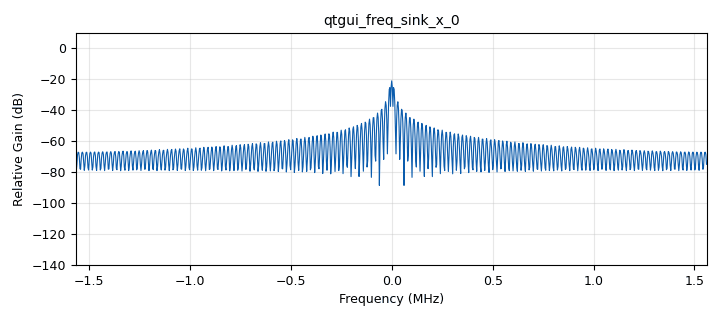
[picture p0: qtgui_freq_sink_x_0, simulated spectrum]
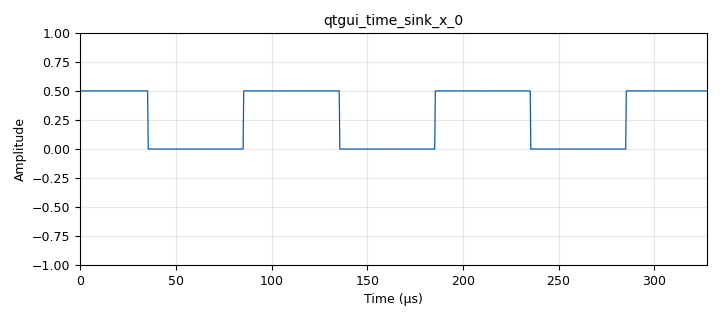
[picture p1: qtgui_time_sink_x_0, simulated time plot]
options:
  parameters:
    generate_options: qt_gui
    id: Lab2_comu1_B1A_G4
    output_language: python
    title: Not titled yet
  states: {}

blocks:
- name: A
  id: variable_qtgui_range
  parameters:
    label: Amplitud señal
    start: '0'
    step: '1e-2'
    stop: '0.5'
    value: '0.5'
  states: {}
- name: GTX
  id: variable_qtgui_range
  parameters:
    label: Ganancia del transmisor
    start: '0'
    step: '0.5'
    stop: '30'
    value: '0.5'
  states: {}
- name: 'No'
  id: variable_qtgui_range
  parameters:
    label: Amplitud ruido
    start: '0'
    step: '1e-6'
    stop: '1e-1'
    value: '1e-4'
  states: {}
- name: fc
  id: variable_qtgui_range
  parameters:
    label: Frecuencia portadora
    start: 50e6
    step: 1e5
    stop: 1e9
    value: 200e6
  states: {}
- name: fcut
  id: variable_qtgui_range
  parameters:
    start: '0'
    step: '100'
    stop: samp_rate/2
    value: samp_rate/2
  states: {}
- name: fm
  id: variable_qtgui_range
  parameters:
    label: Frecuencia señal
    start: '1000'
    step: '1000'
    stop: 1e6
    value: '10000'
  states: {}
- name: samp_rate
  id: variable
  parameters:
    value: 25e6/8
  states: {}
- name: t_band
  id: variable_qtgui_range
  parameters:
    label: Banda de transicion
    start: '0'
    step: '100'
    stop: samp_rate/20
    value: samp_rate/20
  states: {}
- name: analog_noise_source_x_0
  id: analog_noise_source_x
  parameters:
    amp: 'No'
    noise_type: analog.GR_GAUSSIAN
    seed: '0'
    type: float
  states: {}
- name: analog_sig_source_x_0
  id: analog_sig_source_x
  parameters:
    amp: A
    freq: fm
    offset: '0'
    phase: '0'
    samp_rate: samp_rate
    type: float
    waveform: analog.GR_SQR_WAVE
  states: {state: disabled}
- name: analog_sig_source_x_1
  id: analog_sig_source_x
  parameters:
    amp: '1'
    freq: '1000'
    offset: '0'
    phase: '0'
    samp_rate: samp_rate
    type: complex
    waveform: analog.GR_COS_WAVE
  states: {state: disabled}
- name: analog_sig_source_x_2
  id: analog_sig_source_x
  parameters:
    amp: A
    freq: fm
    offset: '0'
    phase: '0'
    samp_rate: samp_rate
    type: float
    waveform: analog.GR_SQR_WAVE
  states: {}
- name: audio_sink_0
  id: audio_sink
  parameters:
    ok_to_block: 'False'
    samp_rate: '44100'
  states: {state: disabled}
- name: blocks_add_xx_0
  id: blocks_add_xx
  parameters:
    type: float
  states: {}
- name: blocks_float_to_complex_0
  id: blocks_float_to_complex
  parameters: {}
  states: {}
- name: blocks_throttle2_0
  id: blocks_throttle2
  parameters:
    samples_per_second: samp_rate
    type: float
  states: {}
- name: blocks_wavfile_source_0
  id: blocks_wavfile_source
  parameters:
    file: /home/labcomu/Descargas/rebelion_joearroyo.wav
    repeat: 'True'
  states: {state: disabled}
- name: low_pass_filter_0
  id: low_pass_filter
  parameters:
    cutoff_freq: fcut
    decim: '1'
    gain: '1'
    samp_rate: samp_rate
    type: fir_filter_fff
    width: t_band
    win: window.WIN_HAMMING
  states: {}
- name: qtgui_freq_sink_x_0
  id: qtgui_freq_sink_x
  parameters:
    bw: samp_rate
    fc: '0'
    fftsize: '1024'
    type: float
  states: {}
- name: qtgui_time_sink_x_0
  id: qtgui_time_sink_x
  parameters:
    size: '1024'
    srate: samp_rate
    type: float
  states: {}
- name: rational_resampler_xxx_0
  id: rational_resampler_xxx
  parameters:
    decim: '44100'
    interp: int(samp_rate)
    type: fff
  states: {state: disabled}
- name: rational_resampler_xxx_1
  id: rational_resampler_xxx
  parameters:
    decim: int(samp_rate)
    interp: '44100'
    type: fff
  states: {state: disabled}
- name: uhd_usrp_sink_0
  id: uhd_usrp_sink
  parameters:
    ant0: '"TX/RX"'
    center_freq0: fc
    gain0: GTX
    samp_rate: samp_rate
    sync: pc_clock
    type: fc32
  states: {}

connections:
- [analog_noise_source_x_0, '0', blocks_add_xx_0, '1']
- [analog_sig_source_x_0, '0', blocks_throttle2_0, '0']
- [analog_sig_source_x_2, '0', blocks_throttle2_0, '0']
- [blocks_add_xx_0, '0', low_pass_filter_0, '0']
- [blocks_float_to_complex_0, '0', uhd_usrp_sink_0, '0']
- [blocks_throttle2_0, '0', blocks_add_xx_0, '0']
- [blocks_wavfile_source_0, '0', rational_resampler_xxx_0, '0']
- [low_pass_filter_0, '0', blocks_float_to_complex_0, '0']
- [low_pass_filter_0, '0', qtgui_freq_sink_x_0, '0']
- [low_pass_filter_0, '0', qtgui_time_sink_x_0, '0']
- [low_pass_filter_0, '0', rational_resampler_xxx_1, '0']
- [rational_resampler_xxx_0, '0', blocks_throttle2_0, '0']
- [rational_resampler_xxx_1, '0', audio_sink_0, '0']

metadata:
  file_format: 1
  grc_version: v3.11.0.0git-810-g1ecb8565
